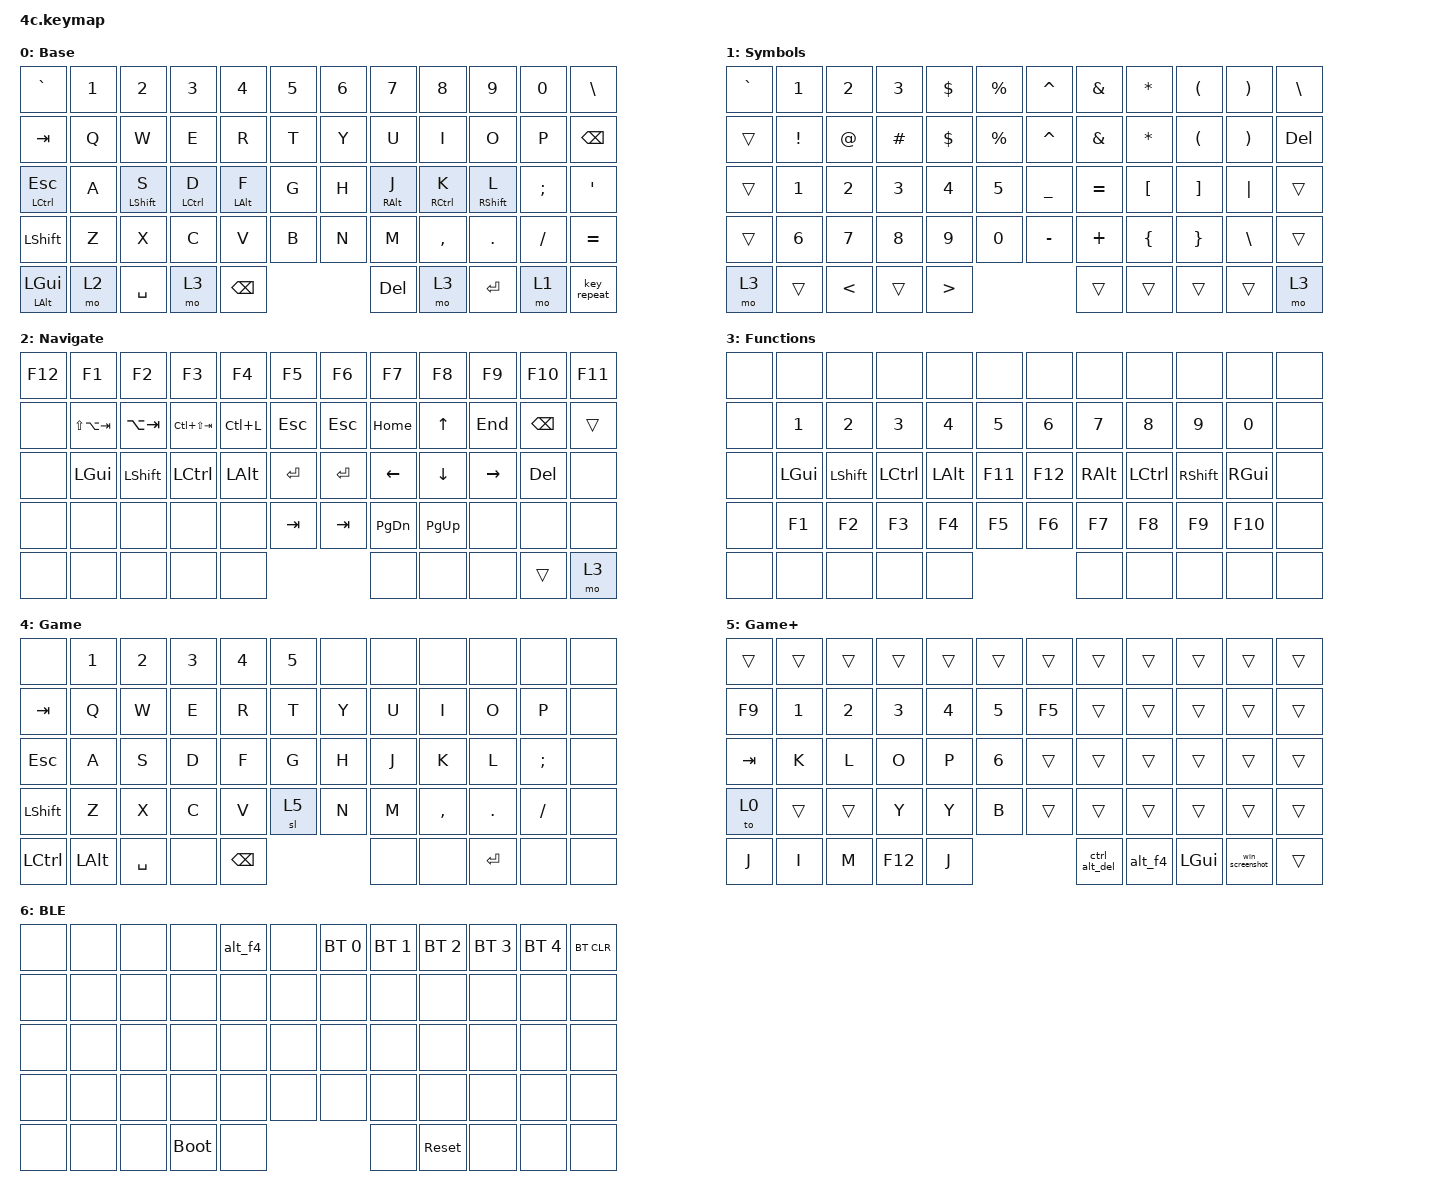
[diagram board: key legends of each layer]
/*
 * Copyright (c) 2020 The ZMK Contributors
 *
 * SPDX-License-Identifier: MIT
 */
/* THIS FILE WAS GENERATED!
 *
 * This file was generated automatically. You may or may not want to
 * edit it directly.
 */

#include <behaviors.dtsi>
#include <dt-bindings/zmk/bt.h>
#include <dt-bindings/zmk/keys.h>

&mt {
    tapping-term-ms = <200>;
};

/ {
    combos {
        compatible = "zmk,combos";

        btMo {
            bindings = <&mo 6>;
            key-positions = <56 57>;
        };

        toGame {
            bindings = <&to 4>;
            key-positions = <51 54>;
        };
    };

    macros {
        codeFence: codeFence {
            compatible = "zmk,behavior-macro";
            label = "new_macro";
            #binding-cells = <0>;
            bindings =
                <&kp GRAVE &kp GRAVE &kp GRAVE &kp RET &kp RET &kp GRAVE &kp GRAVE &kp GRAVE &kp UP>,
                <&macro_press>;
        };
        alt_f4: alt_f4 {
            compatible = "zmk,behavior-macro";
            label = "ALT_F4";
            #binding-cells = <0>;
            bindings = <&kp LALT &kp F4>;
        };
        ctrl_alt_del: ctrl_alt_del {
            compatible = "zmk,behavior-macro";
            label = "CTRL_ALT_DEL";
            #binding-cells = <0>;
            bindings = <&kp LCTRL &kp LEFT_ALT &kp DEL>;
        };
        win_screenshot: win_screenshot {
            compatible = "zmk,behavior-macro";
            label = "WIN_SCREENSHOT";
            #binding-cells = <0>;
            bindings = <&kp LEFT_WIN &kp PRINTSCREEN>;
        };
    };

    behaviors {
        hm: homerow_mods {
            compatible = "zmk,behavior-hold-tap";
            label = "HOMEROW_MODS";
            #binding-cells = <2>;
            tapping-term-ms = <200>;
            quick_tap_ms = <200>;
            flavor = "tap-preferred";
            bindings =
                <&kp>,
                <&kp>;
        };
    };

    keymap {
        compatible = "zmk,keymap";

        BASE {
            bindings = <
            &kp GRAVE  &kp NUMBER_1  &kp NUMBER_2  &kp NUMBER_3   &kp NUMBER_4  &kp NUMBER_5    &kp NUMBER_6  &kp NUMBER_7  &kp NUMBER_8  &kp NUMBER_9  &kp NUMBER_0  &kp BACKSLASH
              &kp TAB         &kp Q         &kp W         &kp E          &kp R         &kp T           &kp Y         &kp U         &kp I         &kp O         &kp P  &kp BACKSPACE
     &mt LCTRL ESCAPE         &kp A  &hm LSHIFT S   &hm LCTRL D     &hm LALT F         &kp G           &kp H    &hm RALT J   &hm RCTRL K  &hm RSHIFT L      &kp SEMI       &kp APOS
       &kp LEFT_SHIFT         &kp Z         &kp X         &kp C          &kp V         &kp B           &kp N         &kp M     &kp COMMA    &kp PERIOD     &kp SLASH      &kp EQUAL
&mt LEFT_ALT LEFT_GUI         &mo 2     &kp SPACE         &mo 3  &kp BACKSPACE                                  &kp DELETE         &mo 3     &kp ENTER         &mo 1    &key_repeat
            >;

            label = "Base";
        };

        SYM {
            bindings = <
&kp GRAVE  &kp N1    &kp N2  &kp N3           &kp DOLLAR  &kp PERCENT    &kp CARET  &kp AMPERSAND      &kp ASTERISK  &kp LEFT_PARENTHESIS  &kp RIGHT_PARENTHESIS  &kp BACKSLASH
   &trans  &kp EXCLAMATION    &kp AT_SIGN  &kp HASH        &kp DOLLAR  &kp PERCENT    &kp CARET  &kp AMPERSAND      &kp ASTERISK  &kp LEFT_PARENTHESIS  &kp RIGHT_PARENTHESIS     &kp DELETE
   &trans           &kp N1         &kp N2    &kp N3            &kp N4       &kp N5    &kp UNDER      &kp EQUAL  &kp LEFT_BRACKET     &kp RIGHT_BRACKET               &kp PIPE         &trans
   &trans           &kp N6         &kp N7    &kp N8            &kp N9       &kp N0    &kp MINUS       &kp PLUS    &kp LEFT_BRACE       &kp RIGHT_BRACE          &kp BACKSLASH         &trans
    &mo 3           &trans  &kp LESS_THAN    &trans  &kp GREATER_THAN                                   &trans            &trans                &trans                 &trans          &mo 3
            >;

            label = "Symbols";
        };

        NAV {
            bindings = <
&kp F12           &kp F1          &kp F2           &kp F3        &kp F4      &kp F5        &kp F6         &kp F7        &kp F8     &kp F9        &kp F10  &kp F11
  &none  &kp LS(LA(TAB))     &kp LA(TAB)  &kp LC(LS(TAB))     &kp LC(L)  &kp ESCAPE    &kp ESCAPE       &kp HOME  &kp UP_ARROW    &kp END  &kp BACKSPACE   &trans
  &none     &kp LEFT_GUI  &kp LEFT_SHIFT        &kp LCTRL  &kp LEFT_ALT   &kp ENTER     &kp ENTER       &kp LEFT      &kp DOWN  &kp RIGHT     &kp DELETE    &none
  &none            &none           &none            &none         &none     &kp TAB       &kp TAB  &kp PAGE_DOWN   &kp PAGE_UP      &none          &none    &none
  &none            &none           &none            &none         &none                                    &none         &none      &none         &trans    &mo 3
            >;

            label = "Navigate";
        };

        FUN {
            bindings = <
&none         &none           &none      &none         &none    &none      &none          &none      &none            &none          &none  &none
&none        &kp N1          &kp N2     &kp N3        &kp N4   &kp N5     &kp N6         &kp N7     &kp N8           &kp N9         &kp N0  &none
&none  &kp LEFT_GUI  &kp LEFT_SHIFT  &kp LCTRL  &kp LEFT_ALT  &kp F11    &kp F12  &kp RIGHT_ALT  &kp LCTRL  &kp RIGHT_SHIFT  &kp RIGHT_GUI  &none
&none        &kp F1          &kp F2     &kp F3        &kp F4   &kp F5     &kp F6         &kp F7     &kp F8           &kp F9        &kp F10  &none
&none         &none           &none      &none         &none                              &none      &none            &none          &none  &none
            >;

            label = "Functions";
        };

        GAME {
            bindings = <
           &none        &kp N1     &kp N2  &kp N3         &kp N4  &kp N5    &none  &none      &none      &none     &none  &none
         &kp TAB         &kp Q      &kp W   &kp E          &kp R   &kp T    &kp Y  &kp U      &kp I      &kp O     &kp P  &none
      &kp ESCAPE         &kp A      &kp S   &kp D          &kp F   &kp G    &kp H  &kp J      &kp K      &kp L  &kp SEMI  &none
       &kp LSHFT         &kp Z      &kp X   &kp C          &kp V   &sl 5    &kp N  &kp M  &kp COMMA    &kp DOT  &kp FSLH  &none
&kp LEFT_CONTROL  &kp LEFT_ALT  &kp SPACE   &none  &kp BACKSPACE                   &none      &none  &kp ENTER     &none  &none
            >;

            label = "Game";
        };

        GAME+ {
            bindings = <
 &trans  &trans  &trans   &trans  &trans        &trans    &trans         &trans   &trans        &trans           &trans  &trans
 &kp F9  &kp N1  &kp N2   &kp N3  &kp N4        &kp N5    &kp F5         &trans   &trans        &trans           &trans  &trans
&kp TAB   &kp K   &kp L    &kp O   &kp P  &kp NUMBER_6    &trans         &trans   &trans        &trans           &trans  &trans
  &to 0  &trans  &trans    &kp Y   &kp Y         &kp B    &trans         &trans   &trans        &trans           &trans  &trans
  &kp J   &kp I   &kp M  &kp F12   &kp J                          &ctrl_alt_del  &alt_f4  &kp LEFT_GUI  &win_screenshot  &trans
            >;

            label = "Game+";
        };

        BT {
            bindings = <
&none  &none  &none        &none  &alt_f4  &none    &bt BT_SEL 0  &bt BT_SEL 1  &bt BT_SEL 2  &bt BT_SEL 3  &bt BT_SEL 4  &bt BT_CLR
&none  &none  &none        &none    &none  &none           &none         &none         &none         &none         &none       &none
&none  &none  &none        &none    &none  &none           &none         &none         &none         &none         &none       &none
&none  &none  &none        &none    &none  &none           &none         &none         &none         &none         &none       &none
&none  &none  &none  &bootloader    &none                                &none    &sys_reset         &none         &none       &none
            >;

            label = "BLE";
        };
    };
};
